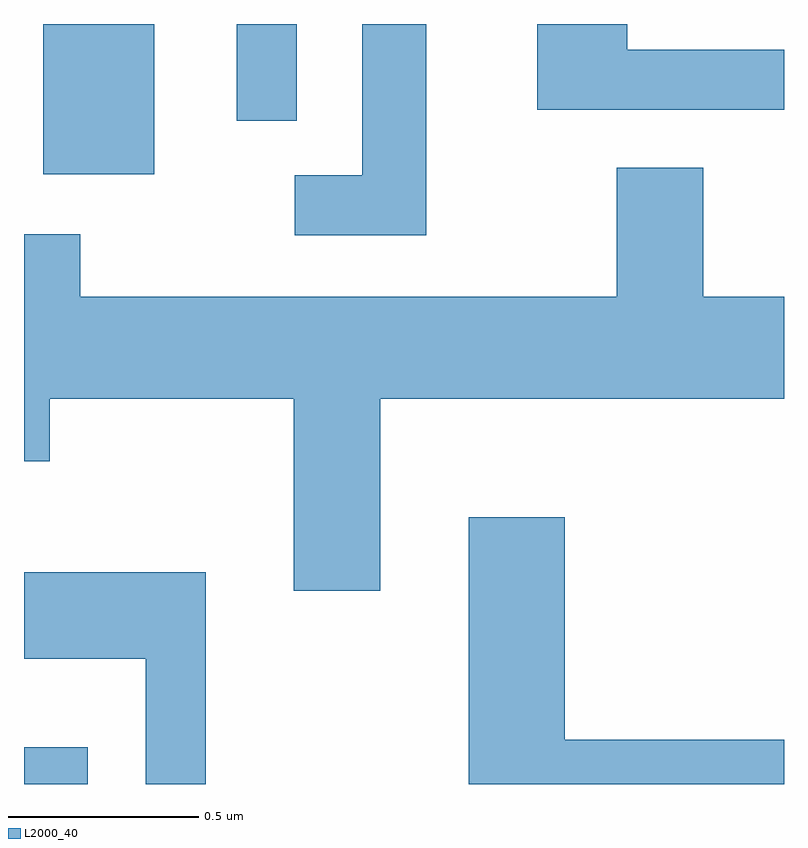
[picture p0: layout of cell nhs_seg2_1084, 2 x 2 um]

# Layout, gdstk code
import gdstk
lib = gdstk.Library(unit=1e-6, precision=1e-09)
def R(c, l, rs):  # rectangles x0, y0, x1, y1
    for r in rs: c.add(gdstk.rectangle(r[:2], r[2:], *l))
def P(c, l, *ps):  # polygons
    for p in ps: c.add(gdstk.Polygon(p, *l))
L2000_40 = (2000, 40)

nhs_seg2_1084 = lib.new_cell('nhs_seg2_1084')
R(nhs_seg2_1084, L2000_40, [(192.611,1102.802,192.779,1102.899), (192.661,1104.406,192.954,1104.802), (193.171,1104.548,193.329,1104.802)])
P(nhs_seg2_1084, L2000_40, [(193.669,1104.802),(193.501,1104.802),(193.501,1104.404),(193.323,1104.404),(193.323,1104.246),(193.669,1104.246)],
  [(194.611,1104.734),(194.199,1104.734),(194.199,1104.802),(193.961,1104.802),(193.961,1104.576),(194.611,1104.576)],
  [(193.549,1103.816),(194.611,1103.816),(194.611,1104.084),(194.399,1104.084),(194.399,1104.424),(194.171,1104.424),(194.171,1104.084),(192.759,1104.084),(192.759,1104.249),(192.611,1104.249),(192.611,1103.651),(192.679,1103.651),(192.679,1103.816),(193.321,1103.816),(193.321,1103.311),(193.549,1103.311)],
  [(194.611,1102.919),(194.034,1102.919),(194.034,1103.504),(193.781,1103.504),(193.781,1102.802),(194.611,1102.802)],
  [(193.089,1103.359),(192.611,1103.359),(192.611,1103.131),(192.931,1103.131),(192.931,1102.802),(193.089,1102.802)])

lib.write_gds('nhs_seg2_1084.gds')
